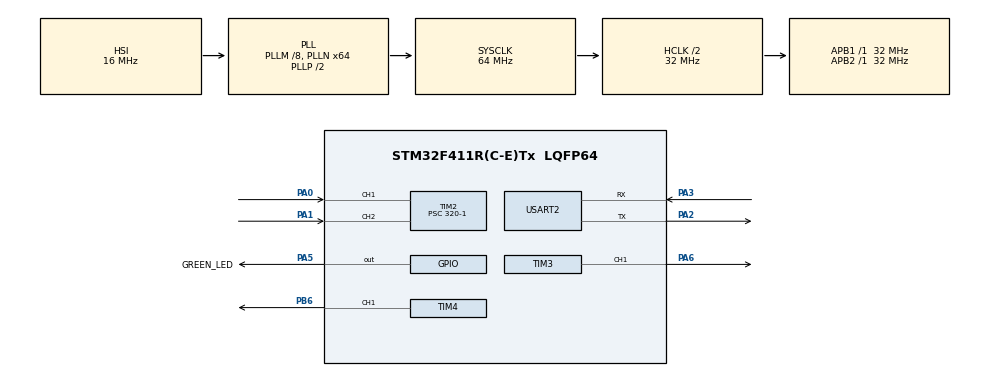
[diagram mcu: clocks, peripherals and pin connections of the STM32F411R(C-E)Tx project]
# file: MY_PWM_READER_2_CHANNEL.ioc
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Mcu.Family=STM32F4
Mcu.Name=STM32F411R(C-E)Tx
Mcu.Package=LQFP64
NVIC.PriorityGroup=NVIC_PRIORITYGROUP_4
NVIC.TIM2_IRQn=true\:0\:0\:false\:false\:true\:true\:true\:true
PA0-WKUP.Signal=S_TIM2_CH1_ETR
PA1.Signal=S_TIM2_CH2
PA13.Mode=Serial_Wire
PA13.Signal=SYS_JTMS-SWDIO
PA14.Mode=Serial_Wire
PA14.Signal=SYS_JTCK-SWCLK
PA2.Mode=Asynchronous
PA2.Signal=USART2_TX
PA3.Mode=Asynchronous
PA3.Signal=USART2_RX
PA5.GPIO_Label=GREEN_LED
PA5.Signal=GPIO_Output
PA6.Signal=S_TIM3_CH1
PB6.Signal=S_TIM4_CH1
ProjectManager.HeapSize=0x200
ProjectManager.StackSize=0x400
ProjectManager.TargetToolchain=STM32CubeIDE
RCC.48MHZClocksFreq_Value=32000000
RCC.AHBCLKDivider=RCC_SYSCLK_DIV2
RCC.AHBFreq_Value=32000000
RCC.APB1Freq_Value=32000000
RCC.APB1TimFreq_Value=32000000
RCC.APB2Freq_Value=32000000
RCC.APB2TimFreq_Value=32000000
RCC.CortexFreq_Value=32000000
RCC.HCLKFreq_Value=32000000
RCC.HSE_VALUE=25000000
RCC.HSI_VALUE=16000000
RCC.LSE_VALUE=32768
RCC.PLLM=8
RCC.PLLN=64
RCC.SYSCLKFreq_VALUE=64000000
RCC.SYSCLKSource=RCC_SYSCLKSOURCE_PLLCLK
RCC.VCOOutputFreq_Value=128000000
SH.S_TIM2_CH1_ETR.0=TIM2_CH1,Input_Capture1_from_TI1
SH.S_TIM2_CH2.0=TIM2_CH2,Input_Capture2_from_TI2
SH.S_TIM3_CH1.0=TIM3_CH1,PWM Generation1 CH1
SH.S_TIM4_CH1.0=TIM4_CH1,PWM Generation1 CH1
TIM2.Channel-Input_Capture1_from_TI1=TIM_CHANNEL_1
TIM2.Channel-Input_Capture2_from_TI2=TIM_CHANNEL_2
TIM2.ICPolarity_CH1=TIM_INPUTCHANNELPOLARITY_BOTHEDGE
TIM2.ICPolarity_CH2=TIM_INPUTCHANNELPOLARITY_BOTHEDGE
TIM2.Period=65536-1
TIM2.Prescaler=320-1
TIM3.Channel-PWM\ Generation1\ CH1=TIM_CHANNEL_1
TIM3.Period=100-1
TIM3.Prescaler=32-1
TIM3.Pulse-PWM\ Generation1\ CH1=25
TIM3.TIM_MasterOutputTrigger=TIM_TRGO_RESET
TIM4.Channel-PWM\ Generation1\ CH1=TIM_CHANNEL_1
TIM4.CounterMode=TIM_COUNTERMODE_UP
TIM4.Period=10000-1
TIM4.Prescaler=32-1
TIM4.Pulse-PWM\ Generation1\ CH1=5000-1
USART2.VirtualMode=VM_ASYNC
VP_TIM2_VS_ClockSourceINT.Mode=Internal
VP_TIM3_VS_ClockSourceINT.Mode=Internal
VP_TIM4_VS_ClockSourceINT.Mode=Internal
board=custom

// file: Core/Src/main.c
/* USER CODE BEGIN Header */
/**
 ******************************************************************************
 * @file           : main.c
 * @brief          : Main program body
 ******************************************************************************
 * @attention
 *
 * Copyright (c) 2025 STMicroelectronics.
 * All rights reserved.
 *
 * This software is licensed under terms that can be found in the LICENSE file
 * in the root directory of this software component.
 * If no LICENSE file comes with this software, it is provided AS-IS.
 *
 ******************************************************************************
 */
/* USER CODE END Header */
#include "main.h"

/* USER CODE BEGIN Includes */
#include <string.h>
#include <stdio.h>
/* USER CODE END Includes */

/* USER CODE BEGIN PTD */

struct PWMSignal
{
	uint16_t count; 		// Counter
	uint16_t upTime;		// Counter
	uint16_t cycleTime;		// Counter
	uint8_t first;			// Se diverso da 0 siamo al primo inpulso
};
/* USER CODE END PTD */

/* USER CODE BEGIN PD */
#define FREQ_CLK 32000000UL
#define PRE_SCALER 320
/* USER CODE END PD */

TIM_HandleTypeDef htim2;
TIM_HandleTypeDef htim3;
TIM_HandleTypeDef htim4;

UART_HandleTypeDef huart2;

/* USER CODE BEGIN PV */
struct PWMSignal pwm1, pwm2;
char str[] = "-> Frequenze\t\tCH1: %d duty: %d\tCH2: %d duty: %d\n\n";
char buff[100];
/* USER CODE END PV */

void SystemClock_Config(void);
static void MX_GPIO_Init(void);
static void MX_TIM2_Init(void);
static void MX_USART2_UART_Init(void);
static void MX_TIM3_Init(void);
static void MX_TIM4_Init(void);
/* USER CODE BEGIN PFP */

uint16_t getPWMFrequency(struct PWMSignal *pwm);
uint16_t getPWMDutyCycle(struct PWMSignal *pwm);

/* USER CODE END PFP */

int main(void)
{

	/* MCU Configuration--------------------------------------------------------*/

	/* Reset of all peripherals, Initializes the Flash interface and the Systick. */
	HAL_Init();

	/* Configure the system clock */
	SystemClock_Config();

	/* Initialize all configured peripherals */
	MX_GPIO_Init();
	MX_TIM2_Init();
	MX_USART2_UART_Init();
	MX_TIM3_Init();
	MX_TIM4_Init();
	/* USER CODE BEGIN 2 */
	HAL_TIM_IC_Start_IT(&htim2, TIM_CHANNEL_1);
	HAL_TIM_IC_Start_IT(&htim2, TIM_CHANNEL_2);
	HAL_TIM_IC_Start(&htim3, TIM_CHANNEL_1);
	HAL_TIM_IC_Start(&htim4, TIM_CHANNEL_1);

	/* USER CODE END 2 */

	/* Infinite loop */
	/* USER CODE BEGIN WHILE */
	while (1)
	{
		sprintf(buff, str, getPWMFrequency(&pwm1), getPWMDutyCycle(&pwm1), getPWMFrequency(&pwm2),
				getPWMDutyCycle(&pwm2));
		if (HAL_UART_Transmit(&huart2, (uint8_t*) buff, strlen(buff) + 1, 100) != HAL_OK)
		{
			Error_Handler();
		}
		HAL_Delay(750);
		/* USER CODE END WHILE */

	}
}

void SystemClock_Config(void)
{
	RCC_OscInitTypeDef RCC_OscInitStruct =
	{ 0 };
	RCC_ClkInitTypeDef RCC_ClkInitStruct =
	{ 0 };

	/** Configure the main internal regulator output voltage
	 */
	__HAL_RCC_PWR_CLK_ENABLE();
	__HAL_PWR_VOLTAGESCALING_CONFIG(PWR_REGULATOR_VOLTAGE_SCALE1);

	/** Initializes the RCC Oscillators according to the specified parameters
	 * in the RCC_OscInitTypeDef structure.
	 */
	RCC_OscInitStruct.OscillatorType = RCC_OSCILLATORTYPE_HSI;
	RCC_OscInitStruct.HSIState = RCC_HSI_ON;
	RCC_OscInitStruct.HSICalibrationValue = RCC_HSICALIBRATION_DEFAULT;
	RCC_OscInitStruct.PLL.PLLState = RCC_PLL_ON;
	RCC_OscInitStruct.PLL.PLLSource = RCC_PLLSOURCE_HSI;
	RCC_OscInitStruct.PLL.PLLM = 8;
	RCC_OscInitStruct.PLL.PLLN = 64;
	RCC_OscInitStruct.PLL.PLLP = RCC_PLLP_DIV2;
	RCC_OscInitStruct.PLL.PLLQ = 4;
	if (HAL_RCC_OscConfig(&RCC_OscInitStruct) != HAL_OK)
	{
		Error_Handler();
	}

	/** Initializes the CPU, AHB and APB buses clocks
	 */
	RCC_ClkInitStruct.ClockType = RCC_CLOCKTYPE_HCLK | RCC_CLOCKTYPE_SYSCLK | RCC_CLOCKTYPE_PCLK1 | RCC_CLOCKTYPE_PCLK2;
	RCC_ClkInitStruct.SYSCLKSource = RCC_SYSCLKSOURCE_PLLCLK;
	RCC_ClkInitStruct.AHBCLKDivider = RCC_SYSCLK_DIV2;
	RCC_ClkInitStruct.APB1CLKDivider = RCC_HCLK_DIV1;
	RCC_ClkInitStruct.APB2CLKDivider = RCC_HCLK_DIV1;

	if (HAL_RCC_ClockConfig(&RCC_ClkInitStruct, FLASH_LATENCY_1) != HAL_OK)
	{
		Error_Handler();
	}
}

static void MX_TIM2_Init(void)
{

	TIM_ClockConfigTypeDef sClockSourceConfig =
	{ 0 };
	TIM_MasterConfigTypeDef sMasterConfig =
	{ 0 };
	TIM_IC_InitTypeDef sConfigIC =
	{ 0 };

	htim2.Instance = TIM2;
	htim2.Init.Prescaler = 320 - 1;
	htim2.Init.CounterMode = TIM_COUNTERMODE_UP;
	htim2.Init.Period = 65536 - 1;
	htim2.Init.ClockDivision = TIM_CLOCKDIVISION_DIV1;
	htim2.Init.AutoReloadPreload = TIM_AUTORELOAD_PRELOAD_DISABLE;
	if (HAL_TIM_Base_Init(&htim2) != HAL_OK)
	{
		Error_Handler();
	}
	sClockSourceConfig.ClockSource = TIM_CLOCKSOURCE_INTERNAL;
	if (HAL_TIM_ConfigClockSource(&htim2, &sClockSourceConfig) != HAL_OK)
	{
		Error_Handler();
	}
	if (HAL_TIM_IC_Init(&htim2) != HAL_OK)
	{
		Error_Handler();
	}
	sMasterConfig.MasterOutputTrigger = TIM_TRGO_RESET;
	sMasterConfig.MasterSlaveMode = TIM_MASTERSLAVEMODE_DISABLE;
	if (HAL_TIMEx_MasterConfigSynchronization(&htim2, &sMasterConfig) != HAL_OK)
	{
		Error_Handler();
	}
	sConfigIC.ICPolarity = TIM_INPUTCHANNELPOLARITY_BOTHEDGE;
	sConfigIC.ICSelection = TIM_ICSELECTION_DIRECTTI;
	sConfigIC.ICPrescaler = TIM_ICPSC_DIV1;
	sConfigIC.ICFilter = 0;
	if (HAL_TIM_IC_ConfigChannel(&htim2, &sConfigIC, TIM_CHANNEL_1) != HAL_OK)
	{
		Error_Handler();
	}
	if (HAL_TIM_IC_ConfigChannel(&htim2, &sConfigIC, TIM_CHANNEL_2) != HAL_OK)
	{
		Error_Handler();
	}

}

static void MX_TIM3_Init(void)
{

	TIM_ClockConfigTypeDef sClockSourceConfig =
	{ 0 };
	TIM_MasterConfigTypeDef sMasterConfig =
	{ 0 };
	TIM_OC_InitTypeDef sConfigOC =
	{ 0 };

	htim3.Instance = TIM3;
	htim3.Init.Prescaler = 32 - 1;
	htim3.Init.CounterMode = TIM_COUNTERMODE_UP;
	htim3.Init.Period = 100 - 1;
	htim3.Init.ClockDivision = TIM_CLOCKDIVISION_DIV1;
	htim3.Init.AutoReloadPreload = TIM_AUTORELOAD_PRELOAD_DISABLE;
	if (HAL_TIM_Base_Init(&htim3) != HAL_OK)
	{
		Error_Handler();
	}
	sClockSourceConfig.ClockSource = TIM_CLOCKSOURCE_INTERNAL;
	if (HAL_TIM_ConfigClockSource(&htim3, &sClockSourceConfig) != HAL_OK)
	{
		Error_Handler();
	}
	if (HAL_TIM_PWM_Init(&htim3) != HAL_OK)
	{
		Error_Handler();
	}
	sMasterConfig.MasterOutputTrigger = TIM_TRGO_RESET;
	sMasterConfig.MasterSlaveMode = TIM_MASTERSLAVEMODE_DISABLE;
	if (HAL_TIMEx_MasterConfigSynchronization(&htim3, &sMasterConfig) != HAL_OK)
	{
		Error_Handler();
	}
	sConfigOC.OCMode = TIM_OCMODE_PWM1;
	sConfigOC.Pulse = 25;
	sConfigOC.OCPolarity = TIM_OCPOLARITY_HIGH;
	sConfigOC.OCFastMode = TIM_OCFAST_DISABLE;
	if (HAL_TIM_PWM_ConfigChannel(&htim3, &sConfigOC, TIM_CHANNEL_1) != HAL_OK)
	{
		Error_Handler();
	}
	HAL_TIM_MspPostInit(&htim3);

}

static void MX_TIM4_Init(void)
{

	TIM_ClockConfigTypeDef sClockSourceConfig =
	{ 0 };
	TIM_MasterConfigTypeDef sMasterConfig =
	{ 0 };
	TIM_OC_InitTypeDef sConfigOC =
	{ 0 };

	htim4.Instance = TIM4;
	htim4.Init.Prescaler = 32 - 1;
	htim4.Init.CounterMode = TIM_COUNTERMODE_UP;
	htim4.Init.Period = 10000 - 1;
	htim4.Init.ClockDivision = TIM_CLOCKDIVISION_DIV1;
	htim4.Init.AutoReloadPreload = TIM_AUTORELOAD_PRELOAD_DISABLE;
	if (HAL_TIM_Base_Init(&htim4) != HAL_OK)
	{
		Error_Handler();
	}
	sClockSourceConfig.ClockSource = TIM_CLOCKSOURCE_INTERNAL;
	if (HAL_TIM_ConfigClockSource(&htim4, &sClockSourceConfig) != HAL_OK)
	{
		Error_Handler();
	}
	if (HAL_TIM_PWM_Init(&htim4) != HAL_OK)
	{
		Error_Handler();
	}
	sMasterConfig.MasterOutputTrigger = TIM_TRGO_RESET;
	sMasterConfig.MasterSlaveMode = TIM_MASTERSLAVEMODE_DISABLE;
	if (HAL_TIMEx_MasterConfigSynchronization(&htim4, &sMasterConfig) != HAL_OK)
	{
		Error_Handler();
	}
	sConfigOC.OCMode = TIM_OCMODE_PWM1;
	sConfigOC.Pulse = 5000 - 1;
	sConfigOC.OCPolarity = TIM_OCPOLARITY_HIGH;
	sConfigOC.OCFastMode = TIM_OCFAST_DISABLE;
	if (HAL_TIM_PWM_ConfigChannel(&htim4, &sConfigOC, TIM_CHANNEL_1) != HAL_OK)
	{
		Error_Handler();
	}
	HAL_TIM_MspPostInit(&htim4);

}

static void MX_USART2_UART_Init(void)
{

	huart2.Instance = USART2;
	huart2.Init.BaudRate = 115200;
	huart2.Init.WordLength = UART_WORDLENGTH_8B;
	huart2.Init.StopBits = UART_STOPBITS_1;
	huart2.Init.Parity = UART_PARITY_NONE;
	huart2.Init.Mode = UART_MODE_TX_RX;
	huart2.Init.HwFlowCtl = UART_HWCONTROL_NONE;
	huart2.Init.OverSampling = UART_OVERSAMPLING_16;
	if (HAL_UART_Init(&huart2) != HAL_OK)
	{
		Error_Handler();
	}

}

static void MX_GPIO_Init(void)
{
	GPIO_InitTypeDef GPIO_InitStruct =
	{ 0 };

	/* GPIO Ports Clock Enable */
	__HAL_RCC_GPIOA_CLK_ENABLE();
	__HAL_RCC_GPIOB_CLK_ENABLE();

	/*Configure GPIO pin Output Level */
	HAL_GPIO_WritePin(GREEN_LED_GPIO_Port, GREEN_LED_Pin, GPIO_PIN_RESET);

	/*Configure GPIO pin : GREEN_LED_Pin */
	GPIO_InitStruct.Pin = GREEN_LED_Pin;
	GPIO_InitStruct.Mode = GPIO_MODE_OUTPUT_PP;
	GPIO_InitStruct.Pull = GPIO_NOPULL;
	GPIO_InitStruct.Speed = GPIO_SPEED_FREQ_LOW;
	HAL_GPIO_Init(GREEN_LED_GPIO_Port, &GPIO_InitStruct);

}

/* USER CODE BEGIN 4 */

/**
 * È INUTILE....
 */
uint16_t toUINT16_T(int x)
{
	if (x < 0)
	{
		x += UINT16_MAX + 1;
	}
	return (uint16_t) x;
}
void computeFrequencyFromTimer(struct PWMSignal *pwm, TIM_HandleTypeDef *htim, int channel)
{
	uint16_t current = HAL_TIM_ReadCapturedValue(htim, channel);
	if (pwm->first) 			// HP inpulso positivo
	{
		pwm->cycleTime = toUINT16_T(current - pwm->count);
		pwm->count = current;
		pwm->first = 0;
	}
	else 						// HP impulso negativo
	{
		pwm->upTime = toUINT16_T(current - pwm->count);
		pwm->first = 1;
	}

}

uint16_t getPWMFrequency(struct PWMSignal *pwm)
{
	return ((float) FREQ_CLK / PRE_SCALER) / pwm->cycleTime;
}

uint16_t getPWMDutyCycle(struct PWMSignal *pwm)
{
	return ((float) pwm->upTime) / (pwm->cycleTime) * 100;
}

void HAL_TIM_IC_CaptureCallback(TIM_HandleTypeDef *htim)
{
	if (htim->Instance == TIM2)
	{
		if (htim->Channel == HAL_TIM_ACTIVE_CHANNEL_1)
		{
			computeFrequencyFromTimer(&pwm1, htim, TIM_CHANNEL_1);
		}
		else if (htim->Channel == HAL_TIM_ACTIVE_CHANNEL_2)
		{
			computeFrequencyFromTimer(&pwm2, htim, TIM_CHANNEL_2);
		}
	}
}

/* USER CODE END 4 */

void Error_Handler(void)
{
	/* USER CODE BEGIN Error_Handler_Debug */
	/* User can add his own implementation to report the HAL error return state */
	__disable_irq();
	while (1)
	{
		HAL_GPIO_TogglePin(GREEN_LED_GPIO_Port, GREEN_LED_Pin);
		HAL_Delay(250);
	}
	/* USER CODE END Error_Handler_Debug */
}
